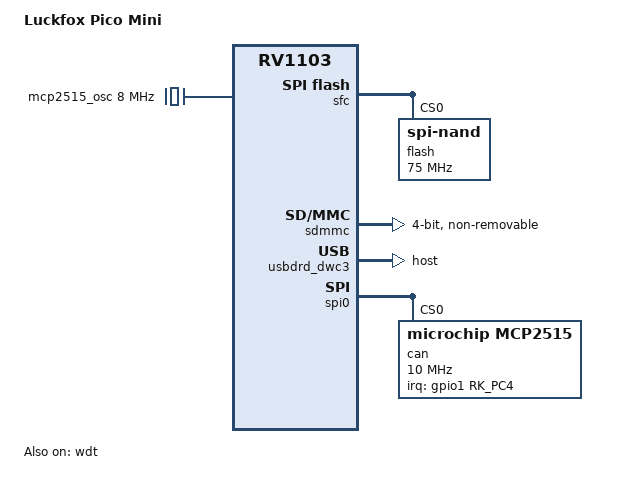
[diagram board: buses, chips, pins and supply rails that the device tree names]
// SPDX-License-Identifier: (GPL-2.0+ OR MIT)
/*
 * Copyright (c) 2023 Luckfox Electronics Co., Ltd.
 */

/dts-v1/;

#include "rv1103.dtsi"
#include "rv1106-evb.dtsi"
#include "rv1103-luckfox-pico-ipc.dtsi"

/ {
	model = "Luckfox Pico Mini";
	compatible = "rockchip,rv1103g-38x38-ipc-v10", "rockchip,rv1103";

	/* MCP2515 CAN controller reference oscillator (8 MHz crystal on module) */
	mcp2515_osc: mcp2515-osc {
		compatible = "fixed-clock";
		#clock-cells = <0>;
		clock-frequency = <8000000>;
	};
};

/**********SFC**********/
&sfc {
	status = "okay";
	flash@0 {
		compatible = "spi-nand";
		reg = <0>;
		spi-max-frequency = <75000000>;
		spi-rx-bus-width = <4>;
		spi-tx-bus-width = <1>;
	};
};

/**********SDMMC**********/
&sdmmc {
	max-frequency = <50000000>;
	no-mmc;
	bus-width = <4>;
	cap-mmc-highspeed;
	cap-sd-highspeed;
	disable-wp;
	
	//sdio
	cap-sdio-irq;
	non-removable;	
	no-1-8-v;
	supports-sdio;

	pinctrl-names = "default";
	pinctrl-0 = <&sdmmc0_clk &sdmmc0_cmd &sdmmc0_det &sdmmc0_bus4>;
	status = "okay";
};

/**********ETH**********/
&gmac {
	status = "disabled";
};

/**********USB**********/
&usbdrd_dwc3 {
	status = "okay";
	/*
	 * Peripheral: usb0 gadget net (RNDIS/CDC-NCM) over the single USB-C.
	 * dwc3 provisions one role at probe (no runtime OTG switch); gadget
	 * is the network path for this headless board. Switch to "host" only
	 * for a USB-wifi-dongle build (mutually exclusive with gadget net).
	 */
	dr_mode = "host";  /* host: USB-wifi dongle (RTL8821CU) + CAN build */
};

/**********SPI - MCP2515 CAN (CAN-B; set 50k/29-bit at runtime via ip link)**********/
/* SPI0_M0; MCP2515 INT on pin10 = GPIO1_C4 */
&spi0 {
	status = "okay";
	pinctrl-names = "default";
	pinctrl-0 = <&spi0m0_pins &spi0m0_cs0>;

	can@0 {
		compatible = "microchip,mcp2515";
		reg = <0>;
		spi-max-frequency = <10000000>;
		clocks = <&mcp2515_osc>;
		interrupt-parent = <&gpio1>;
		interrupts = <RK_PC4 IRQ_TYPE_LEVEL_LOW>;
		status = "okay";
	};
};

/**********I2C**********/
/* I2C3_M1 */
&i2c3 {
	status = "disabled";
	clock-frequency = <100000>;
};

/**********UART**********/
/* UART3_M1 */
&uart3 {
	status = "disabled";
};

/* UART4_M1 */
&uart4 {
	status = "disabled";
};

/**********PWM**********/
/* PWM1_M0 */
&pwm1 {
	status = "disabled";
};

/**********WATCHDOG**********/
/*
 * dw-wdt @ff5a0000. Disabled in rv1106.dtsi by default; enable here so
 * /dev/watchdog appears. S12watchdog init feeds it; expiry -> CRU global
 * soft reset (== RESET button), boot mode latched to BOOT_WATCHDOG.
 * NOWAYOUT is off in the kernel so clean stop/reboot disarms via 'V'.
 */
&wdt {
	status = "okay";
};
